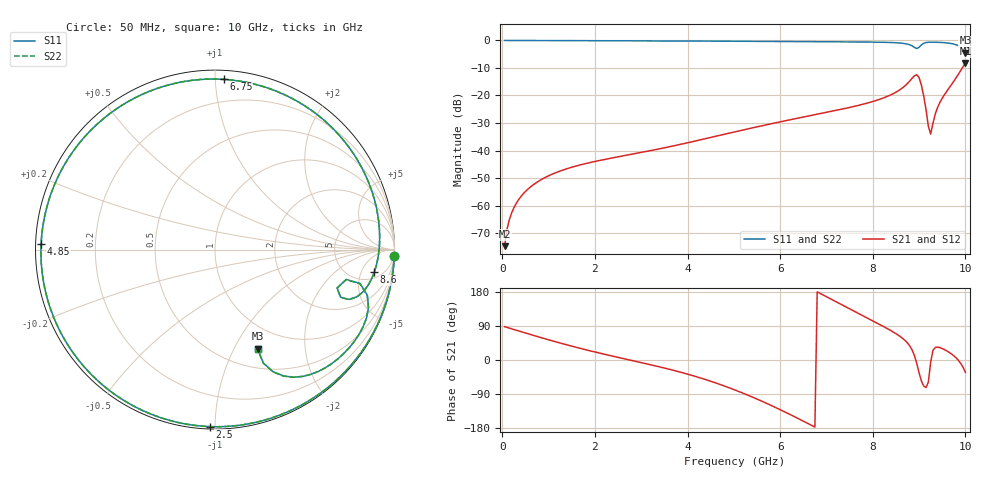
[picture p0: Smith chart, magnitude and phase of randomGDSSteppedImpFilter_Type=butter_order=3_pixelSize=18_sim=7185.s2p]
! freq	dB(S11)	phase(S11)	dB(S12)	phase(S12)
!  dB(S21)	phase(S21)	dB(S22)	phase(S22)
!S-par simulation data
#  GHz  S  DB  R 50
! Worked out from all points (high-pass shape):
!   200 points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, 50 MHz to 10 GHz, reference 50 ohm
!   highest |S21| = -8.27 dB at 10 GHz (marker M1); lowest = -74.8 dB at 50 MHz (marker M2)
!   |S21| within 3 dB of the highest: 9.886 GHz to end of sweep
!   lowest |S11| = -4.4 dB at 10 GHz (marker M3), VSWR 4.01, Z = 36 - j62.3 ohm
!   |S11| at or under -10 dB: nowhere
!   |S22| runs from -4.4 to 0.0 dB; largest |S21 - S12| = 0
!   S11 on the Smith chart (normalised r, x): 50 MHz: 1, -60; 2.5 GHz: 0.01, -0.97; 4.85 GHz: 0.02, +0.02; 6.75 GHz: 0.05, +1.05; 8.6 GHz: 7, -9; 10 GHz: 0.72, -1.25
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0.05  -0.00 -1.9  -74.77 88.0  -74.77 88.0  -0.00 -1.9
0.1  -0.01 -3.8  -68.75 86.2  -68.75 86.2  -0.01 -3.8
0.2  -0.01 -7.5  -62.75 82.4  -62.75 82.4  -0.01 -7.5
0.5  -0.02 -18.7  -54.89 71.2  -54.89 71.2  -0.02 -18.7
1.75  -0.08 -64.6  -44.95 28.7  -44.95 28.7  -0.08 -64.6
2.5  -0.12 -91.8  -42.30 6.9  -42.30 6.9  -0.12 -91.8
3.4  -0.16 -124.7  -39.37 -18.2  -39.37 -18.2  -0.16 -124.7
4.2  -0.22 -155.3  -36.43 -44.4  -36.43 -44.4  -0.22 -155.3
4.85  -0.27 178.1  -33.89 -71.0  -33.89 -71.0  -0.27 178.1
5.05  -0.29 169.5  -33.11 -80.3  -33.11 -80.3  -0.29 169.5
5.8  -0.36 135.1  -30.30 -119.5  -30.30 -119.5  -0.36 135.1
6.7  -0.44 89.7  -27.16 -173.9  -27.16 -173.9  -0.44 89.6
6.75  -0.45 87.1  -26.99 -177.0  -26.99 -177.0  -0.45 87.0
7.65  -0.54 39.9  -23.77 125.4  -23.77 125.4  -0.54 39.7
8.35  -0.72 4.5  -20.07 80.4  -20.07 80.4  -0.72 4.4
8.6  -0.95 -8.1  -17.75 61.3  -17.75 61.3  -0.95 -8.2
8.85  -1.98 -20.4  -13.74 26.2  -13.74 26.2  -1.97 -20.5
9  -2.51 -12.8  -13.51 -34.0  -13.51 -34.0  -2.50 -12.9
9.25  -0.63 -27.6  -34.04 -5.9  -34.04 -5.9  -0.62 -27.7
9.45  -0.71 -38.8  -22.52 32.6  -22.52 32.6  -0.71 -38.9
9.8  -1.56 -58.3  -13.56 5.6  -13.56 5.6  -1.56 -58.4
10  -4.42 -66.8  -8.27 -32.4  -8.27 -32.4  -4.42 -66.8
